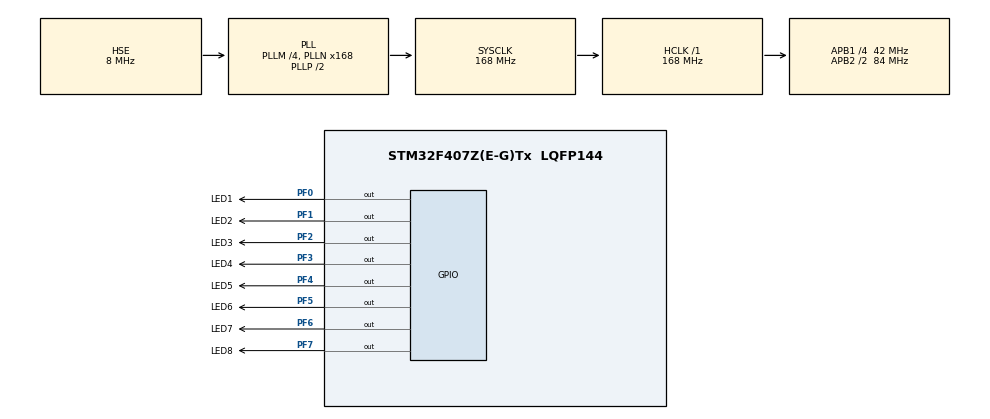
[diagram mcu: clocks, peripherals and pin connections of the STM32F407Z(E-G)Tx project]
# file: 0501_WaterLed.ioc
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Mcu.Family=STM32F4
Mcu.Name=STM32F407Z(E-G)Tx
Mcu.Package=LQFP144
NVIC.PriorityGroup=NVIC_PRIORITYGROUP_4
PA13.Mode=Serial_Wire
PA13.Signal=SYS_JTMS-SWDIO
PA14.Mode=Serial_Wire
PA14.Signal=SYS_JTCK-SWCLK
PF0.GPIO_Label=LED1
PF0.PinState=GPIO_PIN_SET
PF0.Signal=GPIO_Output
PF1.GPIO_Label=LED2
PF1.PinState=GPIO_PIN_SET
PF1.Signal=GPIO_Output
PF2.GPIO_Label=LED3
PF2.PinState=GPIO_PIN_SET
PF2.Signal=GPIO_Output
PF3.GPIO_Label=LED4
PF3.PinState=GPIO_PIN_SET
PF3.Signal=GPIO_Output
PF4.GPIO_Label=LED5
PF4.PinState=GPIO_PIN_SET
PF4.Signal=GPIO_Output
PF5.GPIO_Label=LED6
PF5.PinState=GPIO_PIN_SET
PF5.Signal=GPIO_Output
PF6.GPIO_Label=LED7
PF6.PinState=GPIO_PIN_SET
PF6.Signal=GPIO_Output
PF7.GPIO_Label=LED8
PF7.PinState=GPIO_PIN_SET
PF7.Signal=GPIO_Output
PH0-OSC_IN.Mode=HSE-External-Oscillator
PH0-OSC_IN.Signal=RCC_OSC_IN
PH1-OSC_OUT.Mode=HSE-External-Oscillator
PH1-OSC_OUT.Signal=RCC_OSC_OUT
ProjectManager.HeapSize=0x200
ProjectManager.StackSize=0x400
ProjectManager.TargetToolchain=STM32CubeIDE
RCC.48MHZClocksFreq_Value=84000000
RCC.AHBFreq_Value=168000000
RCC.APB1CLKDivider=RCC_HCLK_DIV4
RCC.APB1Freq_Value=42000000
RCC.APB1TimFreq_Value=84000000
RCC.APB2CLKDivider=RCC_HCLK_DIV2
RCC.APB2Freq_Value=84000000
RCC.APB2TimFreq_Value=168000000
RCC.CortexFreq_Value=168000000
RCC.HCLKFreq_Value=168000000
RCC.HSE_VALUE=8000000
RCC.HSI_VALUE=16000000
RCC.LSE_VALUE=32768
RCC.PLLM=4
RCC.PLLN=168
RCC.PLLSourceVirtual=RCC_PLLSOURCE_HSE
RCC.SYSCLKFreq_VALUE=168000000
RCC.SYSCLKSource=RCC_SYSCLKSOURCE_PLLCLK
RCC.VCOOutputFreq_Value=336000000
board=custom

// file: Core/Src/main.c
/* USER CODE BEGIN Header */
/**
  ******************************************************************************
  * @file           : main.c
  * @brief          : Main program body
  ******************************************************************************
  * @attention
  *
  * Copyright (c) 2026 STMicroelectronics.
  * All rights reserved.
  *
  * This software is licensed under terms that can be found in the LICENSE file
  * in the root directory of this software component.
  * If no LICENSE file comes with this software, it is provided AS-IS.
  *
  ******************************************************************************
  */
/* USER CODE END Header */
#include "main.h"
#include "gpio.h"

void SystemClock_Config(void);

/* USER CODE BEGIN 0 */
void delay(uint32_t i)
{
    while(i--);
}

/* USER CODE END 0 */

int main(void)
{

  /* MCU Configuration--------------------------------------------------------*/

  /* Reset of all peripherals, Initializes the Flash interface and the Systick. */
  HAL_Init();

  /* Configure the system clock */
  SystemClock_Config();

  /* Initialize all configured peripherals */
  MX_GPIO_Init();

  /* Infinite loop */
  /* USER CODE BEGIN WHILE */
  while (1)
  {

	    GPIOF->ODR = 0xFE;  // PF0输出低电平，LED1点亮
	    delay(24000000);
	    GPIOF->ODR = 0xFD;  // PF1输出低电平，LED2点亮
	    delay(24000000);
	    GPIOF->ODR = 0xFB;  // PF2输出低电平，LED3点亮
	    delay(24000000);
	    GPIOF->ODR = 0xF7;  // PF3输出低电平，LED4点亮
	    delay(24000000);
	    GPIOF->ODR = 0xEF;  // PF4输出低电平，LED5点亮
	    delay(24000000);
	    GPIOF->ODR = 0xDF;  // PF5输出低电平，LED6点亮
	    delay(24000000);
	    GPIOF->ODR = 0xBF;  // PF6输出低电平，LED7点亮
	    delay(24000000);
	    GPIOF->ODR = 0x7F;  // PF7输出低电平，LED8点亮
	    delay(24000000);
    /* USER CODE END WHILE */

  }
}

void SystemClock_Config(void)
{
  RCC_OscInitTypeDef RCC_OscInitStruct = {0};
  RCC_ClkInitTypeDef RCC_ClkInitStruct = {0};

  /** Configure the main internal regulator output voltage
  */
  __HAL_RCC_PWR_CLK_ENABLE();
  __HAL_PWR_VOLTAGESCALING_CONFIG(PWR_REGULATOR_VOLTAGE_SCALE1);

  /** Initializes the RCC Oscillators according to the specified parameters
  * in the RCC_OscInitTypeDef structure.
  */
  RCC_OscInitStruct.OscillatorType = RCC_OSCILLATORTYPE_HSE;
  RCC_OscInitStruct.HSEState = RCC_HSE_ON;
  RCC_OscInitStruct.PLL.PLLState = RCC_PLL_ON;
  RCC_OscInitStruct.PLL.PLLSource = RCC_PLLSOURCE_HSE;
  RCC_OscInitStruct.PLL.PLLM = 4;
  RCC_OscInitStruct.PLL.PLLN = 168;
  RCC_OscInitStruct.PLL.PLLP = RCC_PLLP_DIV2;
  RCC_OscInitStruct.PLL.PLLQ = 4;
  if (HAL_RCC_OscConfig(&RCC_OscInitStruct) != HAL_OK)
  {
    Error_Handler();
  }

  /** Initializes the CPU, AHB and APB buses clocks
  */
  RCC_ClkInitStruct.ClockType = RCC_CLOCKTYPE_HCLK|RCC_CLOCKTYPE_SYSCLK
                              |RCC_CLOCKTYPE_PCLK1|RCC_CLOCKTYPE_PCLK2;
  RCC_ClkInitStruct.SYSCLKSource = RCC_SYSCLKSOURCE_PLLCLK;
  RCC_ClkInitStruct.AHBCLKDivider = RCC_SYSCLK_DIV1;
  RCC_ClkInitStruct.APB1CLKDivider = RCC_HCLK_DIV4;
  RCC_ClkInitStruct.APB2CLKDivider = RCC_HCLK_DIV2;

  if (HAL_RCC_ClockConfig(&RCC_ClkInitStruct, FLASH_LATENCY_5) != HAL_OK)
  {
    Error_Handler();
  }
}

void Error_Handler(void)
{
  __disable_irq();
  while (1)
  {
  }
}
